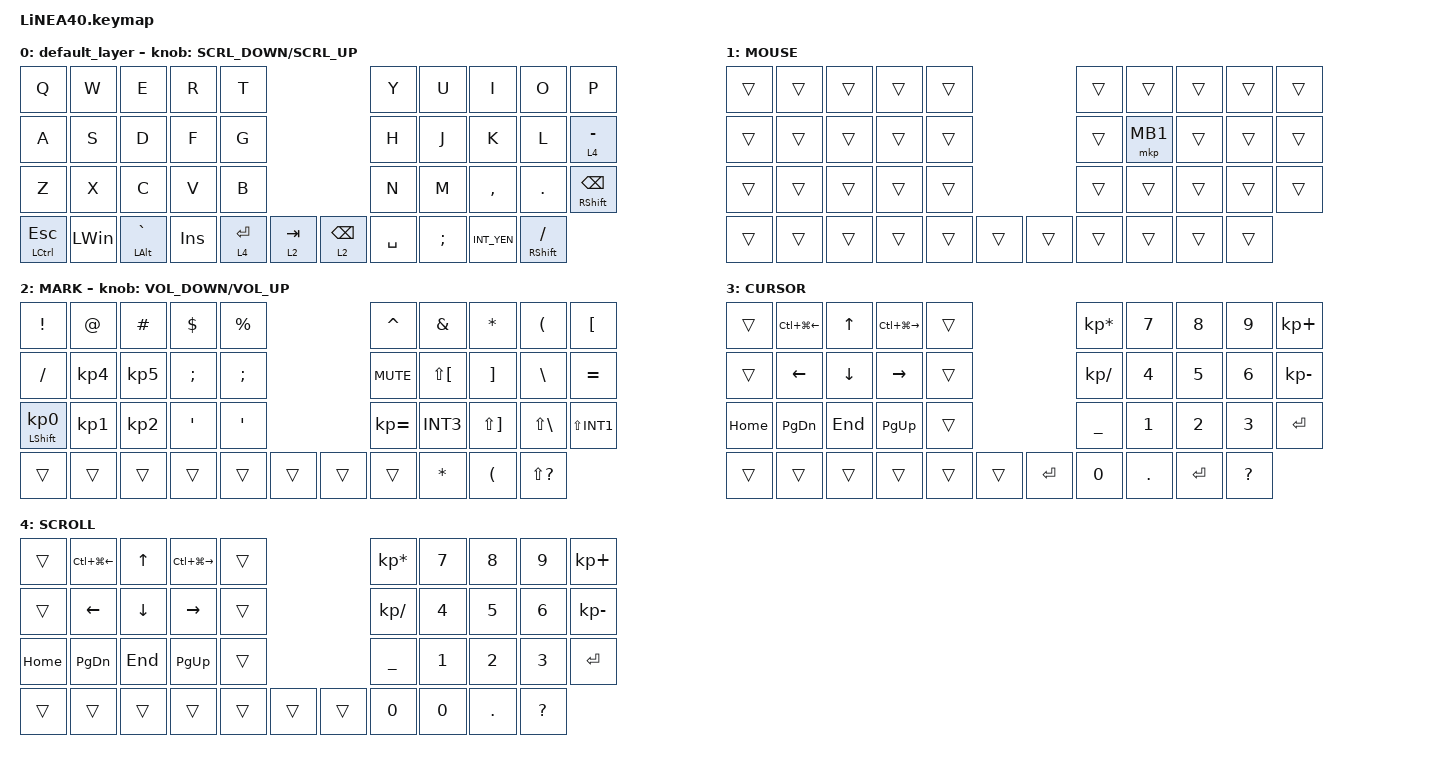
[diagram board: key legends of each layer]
#define ZMK_POINTING_DEFAULT_SCRL_VAL 150
#include <behaviors.dtsi>
#include <dt-bindings/zmk/bt.h>
#include <dt-bindings/zmk/pointing.h>
#include <dt-bindings/zmk/input_transform.h>
#include <input/processors.dtsi>
#include <zephyr/dt-bindings/input/input-event-codes.h>

#define MOUSE 1
#define MARK 2
#define CURSOR 3
#define SCROLL 4

//mouse cursol
&mmv {
    delay-ms = <20>;
    trigger-period-ms = <5>;
    time-to-max-speed-ms = <100>;
    acceleration-exponent = <2>;
};

//mouse scroll
&msc {
    delay-ms = <3>;
    trigger-period-ms = <3>;
    time-to-max-speed-ms = <100>;
    acceleration-exponent = <0>;
};


&trackball_listener {
    scroller {
        layers = <SCROLL>;
        input-processors = <&zip_xy_transform INPUT_TRANSFORM_Y_INVERT> //スクロール方向を逆転
                         , <&zip_xy_to_scroll_mapper>;
    };
};



/ {
        combos {
        compatible = "zmk,combos";

        ZenkakuHankaku {
            bindings = <&kp GRAVE>;
            key-positions = <11 12>;
        };

        DeleteKey {
            bindings = <&kp DEL>;
            key-positions = <7 8>;
        };

        InsertKey {
            bindings = <&kp INS>;
            key-positions = <6 7>;
        };

        CenterClick {
            bindings = <&mkp MB3>;
            key-positions = <17 16>;
        };

        RightClick {
            bindings = <&mkp MB2>;
            key-positions = <18 17>;
        };

        PrevClick {
            bindings = <&mkp MB4>;
            key-positions = <27 28>;
        };

        ClickNext {
            bindings = <&mkp MB5>;
            key-positions = <26 27>;
        };

    };

    behaviors {
        re_kp: sensor_rotate_kp {
            compatible = "zmk,behavior-sensor-rotate-var";
            #sensor-binding-cells = <2>;
            bindings = <&kp>, <&kp>;
        };
        mouse_scrl: mouse_wheel_scrl {
            compatible = "zmk,behavior-sensor-rotate-var";
            #sensor-binding-cells = <2>;
            bindings = <&msc>, <&msc>;
            tap-ms = <20>;
        };
    };

    keymap {
        compatible = "zmk,keymap";

        default_layer {
            bindings = <
                &kp Q          &kp W         &kp E               &kp R    &kp T                                    &kp Y        &kp U     &kp I            &kp O        &kp P
                &kp A          &kp S         &kp D               &kp F    &kp G                                    &kp H        &kp J     &kp K            &kp L        &lt 4 MINUS
                &kp Z          &kp X         &kp C               &kp V    &kp B                                    &kp N        &kp M     &kp COMMA        &kp DOT      &mt RIGHT_SHIFT BACKSPACE
                &mt LCTRL ESC  &kp LEFT_WIN  &mt LEFT_ALT GRAVE  &kp INS  &lt 4 ENTER  &lt 2 TAB  &lt 2 BACKSPACE  &kp SPACE              &kp SEMICOLON   &kp INT_YEN  &mt RIGHT_SHIFT SLASH
            >;
            sensor-bindings = <&mouse_scrl SCRL_DOWN SCRL_UP>;
        };

        //1
        MOUSE {
            bindings = <
                &trans  &trans  &trans  &trans  &trans                    &trans  &trans    &trans  &trans  &trans
                &trans  &trans  &trans  &trans  &trans                    &trans  &mkp MB1  &trans  &trans  &trans
                &trans  &trans  &trans  &trans  &trans                    &trans  &trans    &trans  &trans  &trans
                &trans  &trans  &trans  &trans  &trans  &trans    &trans  &trans            &trans  &trans  &trans
            >;
        };

        //2
        MARK {
            bindings = <
                &kp EXCLAMATION             &kp AT           &kp HASH         &kp DOLLAR     &kp PERCENT                                          &kp CARET     &kp AMPERSAND  &kp ASTERISK           &kp LEFT_PARENTHESIS  &kp LBKT
                &kp SLASH                   &kp KP_NUMBER_4  &kp KP_NUMBER_5  &kp SEMICOLON  &kp SEMICOLON                                        &kp C_MUTE    &kp LS(LBKT)   &kp RIGHT_BRACKET      &kp BACKSLASH         &kp EQUAL
                &mt LEFT_SHIFT KP_NUMBER_0  &kp KP_NUMBER_1  &kp KP_NUMBER_2  &kp APOS       &kp SQT                                              &kp KP_EQUAL  &kp INT3       &kp LS(RIGHT_BRACKET)  &kp LS(BACKSLASH)     &kp LS(INT1)
                &trans                      &trans           &trans           &trans         &trans         &trans          &trans                &trans                       &kp ASTERISK           &kp LEFT_PARENTHESIS  &kp LS(QUESTION)
            >;
            sensor-bindings = <&re_kp C_VOLUME_DOWN C_VOLUME_UP>;
        };

        //3
        CURSOR {
            bindings = <
                &trans    &kp LC(LG(LEFT_ARROW))  &kp UP_ARROW  &kp LC(LG(RIGHT_ARROW))  &trans                       &kp KP_MULTIPLY  &kp NUMBER_7  &kp NUMBER_8  &kp NUMBER_9  &kp KP_PLUS
                &trans    &kp LEFT_ARROW          &kp DOWN      &kp RIGHT_ARROW          &trans                       &kp KP_SLASH     &kp NUMBER_4  &kp NUMBER_5  &kp NUMBER_6  &kp KP_MINUS
                &kp HOME  &kp PAGE_DOWN           &kp END       &kp PAGE_UP              &trans                       &kp UNDER        &kp NUMBER_1  &kp NUMBER_2  &kp NUMBER_3  &kp ENTER
                &trans    &trans                  &trans        &trans                   &trans  &trans    &kp ENTER  &kp NUMBER_0                   &kp DOT       &kp ENTER     &kp QUESTION
            >;
        };

        //4
        SCROLL {
             bindings = <
                &trans    &kp LC(LG(LEFT_ARROW))  &kp UP_ARROW  &kp LC(LG(RIGHT_ARROW))  &trans                       &kp KP_MULTIPLY  &kp NUMBER_7  &kp NUMBER_8  &kp NUMBER_9  &kp KP_PLUS
                &trans    &kp LEFT_ARROW          &kp DOWN      &kp RIGHT_ARROW          &trans                       &kp KP_SLASH     &kp NUMBER_4  &kp NUMBER_5  &kp NUMBER_6  &kp KP_MINUS
                &kp HOME  &kp PAGE_DOWN           &kp END       &kp PAGE_UP              &trans                       &kp UNDER        &kp NUMBER_1  &kp NUMBER_2  &kp NUMBER_3  &kp ENTER
                &trans    &trans                  &trans        &trans                   &trans  &trans    &trans  &kp NUMBER_0                   &kp NUMBER_0  &kp DOT       &kp QUESTION
            >;
        };
    };
};
